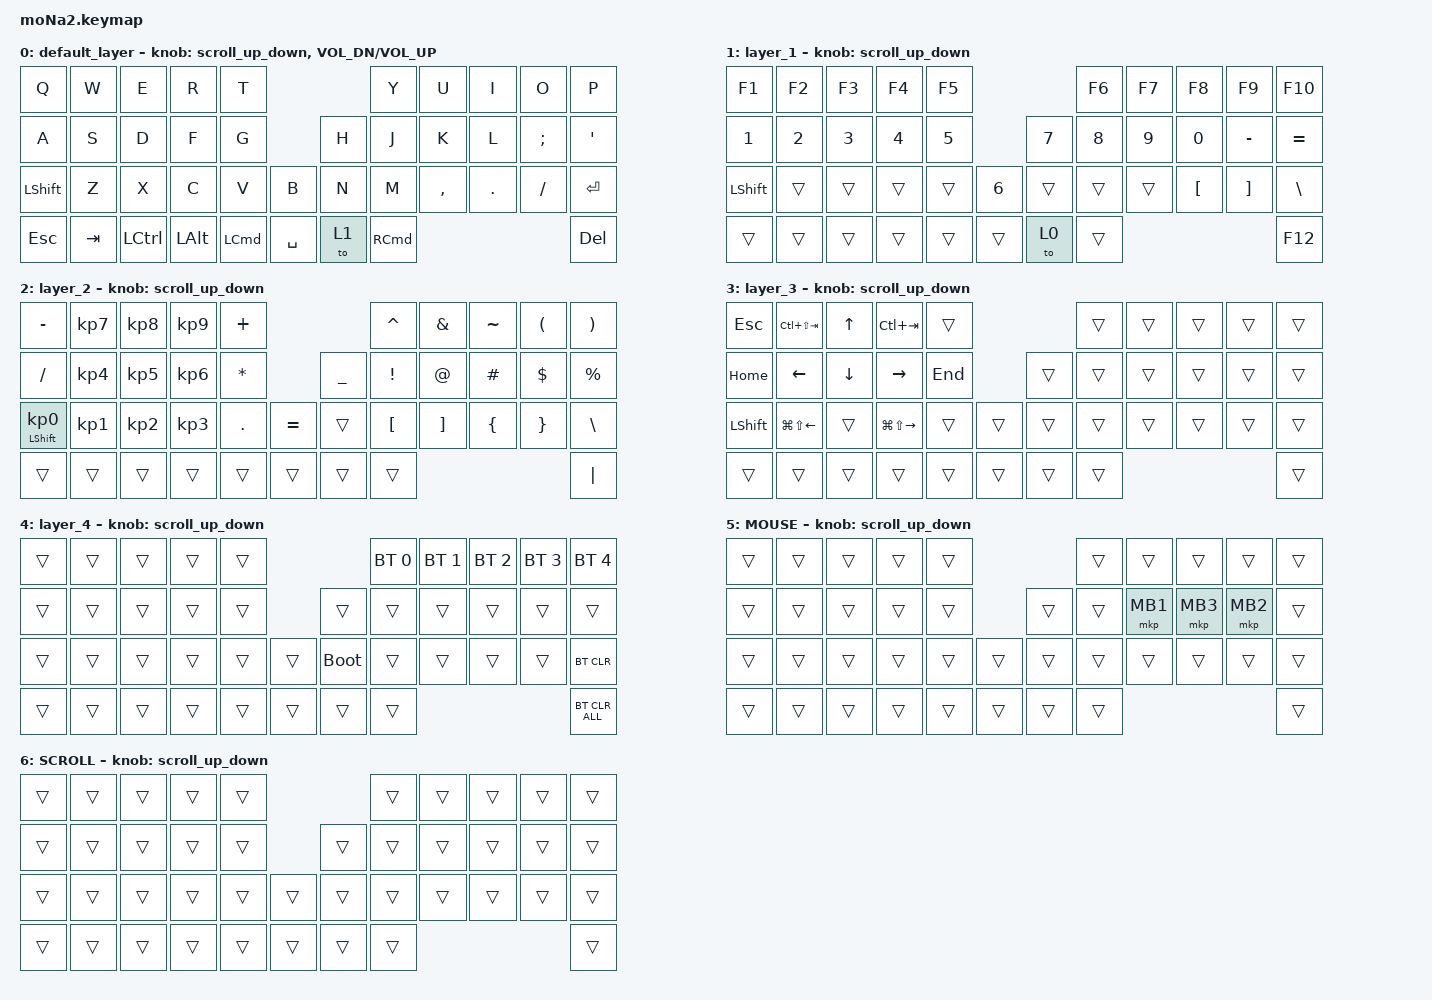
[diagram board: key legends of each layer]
#include <behaviors.dtsi>
#include <dt-bindings/zmk/bt.h>
#include <dt-bindings/zmk/keys.h>
#include <dt-bindings/zmk/pointing.h>

#define ZMK_POINTING_DEFAULT_SCRL_VAL 100
#define MOUSE 5
#define SCROLL 6

&mt {
    flavor = "balanced";
    quick-tap-ms = <0>;
};

/ {
    combos { compatible = "zmk,combos"; };

    macros {
        to_layer_0: to_layer_0 {
            compatible = "zmk,behavior-macro-one-param";
            #binding-cells = <1>;
            bindings = <&to 0 &macro_param_1to1 &kp MACRO_PLACEHOLDER>;
            label = "TO_LAYER_0";
        };
    };

    behaviors {
        lt_to_layer_0: lt_to_layer_0 {
            compatible = "zmk,behavior-hold-tap";
            label = "LAYER_TAP_TO_0";
            bindings = <&mo>, <&to_layer_0>;

            #binding-cells = <2>;
            tapping-term-ms = <200>;
        };

        scroll_up_down: behavior_sensor_rotate_mouse_wheel_up_down {
            compatible = "zmk,behavior-sensor-rotate";
            #sensor-binding-cells = <0>;
            bindings = <&msc SCRL_UP>, <&msc SCRL_DOWN>;

            tap-ms = <20>;
        };
    };

    keymap {
        compatible = "zmk,keymap";

        default_layer {
            bindings = <
&kp Q           &kp W    &kp E      &kp R         &kp T                                 &kp Y              &kp U      &kp I       &kp O          &kp P
&kp A           &kp S    &kp D      &kp F         &kp G                          &kp H  &kp J              &kp K      &kp L       &kp SEMICOLON  &kp SQT
&kp LEFT_SHIFT  &kp Z    &kp X      &kp C         &kp V             &kp B        &kp N  &kp M              &kp COMMA  &kp PERIOD  &kp SLASH      &kp ENTER
&kp ESCAPE      &kp TAB  &kp LCTRL  &kp LEFT_ALT  &kp LEFT_COMMAND  &kp SPACE    &to 1  &kp RIGHT_COMMAND                                        &kp DELETE
            >;

            sensor-bindings =
                <&scroll_up_down>,
                <&inc_dec_kp C_VOL_DN C_VOL_UP>;
        };

        layer_1 {
            bindings = <
&kp F1          &kp F2        &kp F3        &kp F4        &kp F5                          &kp F6  &kp F7  &kp F8            &kp F9             &kp F10
&kp NUMBER_1    &kp NUMBER_2  &kp NUMBER_3  &kp NUMBER_4  &kp N5                  &kp N7  &kp N8  &kp N9  &kp N0            &kp MINUS          &kp EQUAL
&kp LEFT_SHIFT  &trans        &trans        &trans        &trans  &kp NUMBER_6    &trans  &trans  &trans  &kp LEFT_BRACKET  &kp RIGHT_BRACKET  &kp BACKSLASH
&trans          &trans        &trans        &trans        &trans  &trans          &to 0   &trans                                               &kp F12
            >;

            sensor-bindings = <&scroll_up_down>;
        };

        layer_2 {
            bindings = <
&kp MINUS                   &kp KP_NUMBER_7  &kp KP_NUMBER_8  &kp KP_NUMBER_9  &kp PLUS                                   &kp CARET         &kp AMPERSAND      &kp TILDE       &kp LEFT_PARENTHESIS  &kp RIGHT_PARENTHESIS
&kp SLASH                   &kp KP_NUMBER_4  &kp KP_NUMBER_5  &kp KP_NUMBER_6  &kp ASTERISK               &kp UNDERSCORE  &kp EXCLAMATION   &kp AT_SIGN        &kp HASH        &kp DOLLAR            &kp PERCENT
&mt LEFT_SHIFT KP_NUMBER_0  &kp KP_NUMBER_1  &kp KP_NUMBER_2  &kp KP_NUMBER_3  &kp PERIOD    &kp EQUAL    &trans          &kp LEFT_BRACKET  &kp RIGHT_BRACKET  &kp LEFT_BRACE  &kp RIGHT_BRACE       &kp BACKSLASH
&trans                      &trans           &trans           &trans           &trans        &trans       &trans          &trans                                                                     &kp PIPE
            >;

            sensor-bindings = <&scroll_up_down>;
        };

        layer_3 {
            bindings = <
&kp ESCAPE      &kp LC(LS(TAB))         &kp UP_ARROW    &kp LC(TAB)              &trans                     &trans  &trans  &trans  &trans  &trans
&kp HOME        &kp LEFT_ARROW          &kp DOWN_ARROW  &kp RIGHT_ARROW          &kp END            &trans  &trans  &trans  &trans  &trans  &trans
&kp LEFT_SHIFT  &kp LG(LS(LEFT_ARROW))  &trans          &kp LG(LS(RIGHT_ARROW))  &trans   &trans    &trans  &trans  &trans  &trans  &trans  &trans
&trans          &trans                  &trans          &trans                   &trans   &trans    &trans  &trans                          &trans
            >;

            sensor-bindings = <&scroll_up_down>;
        };

        layer_4 {
            bindings = <
&trans  &trans  &trans  &trans  &trans                         &bt BT_SEL 0  &bt BT_SEL 1  &bt BT_SEL 2  &bt BT_SEL 3  &bt BT_SEL 4
&trans  &trans  &trans  &trans  &trans            &trans       &trans        &trans        &trans        &trans        &trans
&trans  &trans  &trans  &trans  &trans  &trans    &bootloader  &trans        &trans        &trans        &trans        &bt BT_CLR
&trans  &trans  &trans  &trans  &trans  &trans    &trans       &trans                                                  &bt BT_CLR_ALL
            >;

            sensor-bindings = <&scroll_up_down>;
        };

        MOUSE {
            bindings = <
&trans  &trans  &trans  &trans  &trans                    &trans  &trans    &trans    &trans    &trans
&trans  &trans  &trans  &trans  &trans            &trans  &trans  &mkp MB1  &mkp MB3  &mkp MB2  &trans
&trans  &trans  &trans  &trans  &trans  &trans    &trans  &trans  &trans    &trans    &trans    &trans
&trans  &trans  &trans  &trans  &trans  &trans    &trans  &trans                                &trans
            >;

            sensor-bindings = <&scroll_up_down>;
        };

        SCROLL {
            bindings = <
&trans  &trans  &trans  &trans  &trans                    &trans  &trans  &trans  &trans  &trans
&trans  &trans  &trans  &trans  &trans            &trans  &trans  &trans  &trans  &trans  &trans
&trans  &trans  &trans  &trans  &trans  &trans    &trans  &trans  &trans  &trans  &trans  &trans
&trans  &trans  &trans  &trans  &trans  &trans    &trans  &trans                          &trans
            >;

            sensor-bindings = <&scroll_up_down>;
        };
    };
};
